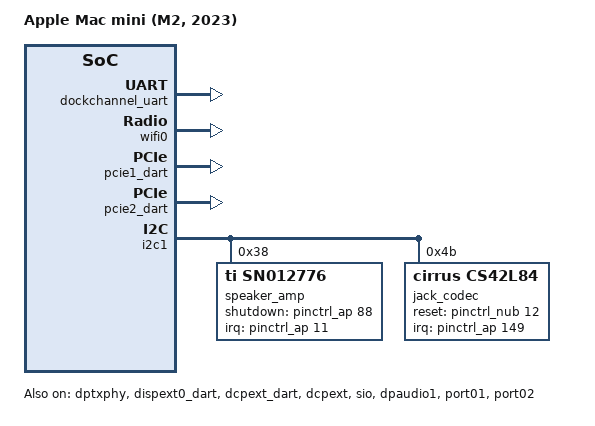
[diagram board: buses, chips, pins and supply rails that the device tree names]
// SPDX-License-Identifier: GPL-2.0+ OR MIT
/*
 * Apple Mac mini (M2, 2023)
 *
 * target-type: J473
 *
 * Copyright The Asahi Linux Contributors
 */

/dts-v1/;

#include <dt-bindings/hwmon/apple,smc-hwmon.h>
#include <dt-bindings/thermal/thermal.h>
#include "t8112.dtsi"
#include "t8112-jxxx.dtsi"

/ {
	compatible = "apple,j473", "apple,t8112", "apple,arm-platform";
	model = "Apple Mac mini (M2, 2023)";
	chassis-type = "desktop";

	aliases {
		bluetooth0 = &bluetooth0;
		/delete-property/ dcp;
		dcpext = &dcpext;
		ethernet0 = &ethernet0;
		sio = &sio;
		wifi0 = &wifi0;
	};

	thermal-zones {
		cpu-thermal {
			/* While throttling, poll as often as the SMC refreshes TCMb */
			polling-delay-passive = <1000>;
			polling-delay = <2000>;
			thermal-sensors = <&smc_hwmon APPLE_SMC_KEY('T', 'C', 'M', 'b')>;

			trips {
				cpu_alert: cpu-alert {
					temperature = <105000>;
					hysteresis = <2000>;
					type = "passive";
				};

				cpu-crit {
					temperature = <110000>;
					hysteresis = <0>;
					type = "critical";
				};
			};

			cooling-maps {
				map0 {
					trip = <&cpu_alert>;
					cooling-device =
						<&cpu_p0 THERMAL_NO_LIMIT THERMAL_NO_LIMIT>,
						<&cpu_p1 THERMAL_NO_LIMIT THERMAL_NO_LIMIT>,
						<&cpu_p2 THERMAL_NO_LIMIT THERMAL_NO_LIMIT>,
						<&cpu_p3 THERMAL_NO_LIMIT THERMAL_NO_LIMIT>;
				};
			};
		};

		gpu-thermal {
			polling-delay-passive = <0>;
			polling-delay = <2000>;
			thermal-sensors = <&smc_hwmon APPLE_SMC_KEY('T', 'g', '0', 'n')>;

			trips {
				gpu-crit {
					temperature = <110000>;
					hysteresis = <0>;
					type = "critical";
				};
			};
		};
	};
};

&dockchannel_uart {
	status = "okay";
};

&dptxphy {
	status = "okay";
};

&dcp {
	status = "disabled";
};

&display {
	iommus = <&dispext0_dart 0 0x0 0x0 0xf 0xffff0000>;
};
&dispext0_dart {
	status = "okay";
};
&dcpext_dart {
	status = "okay";
};
&dcpext_mbox {
	status = "okay";
};
&dcpext {
	status = "okay";
	apple,connector-type = "HDMI-A";

	/*  HDMI HPD gpio, used as interrupt*/
	hdmi-hpd-gpios = <&pinctrl_aop 49 GPIO_ACTIVE_HIGH>;

	hdmi-pwren-gpios = <&smc_gpio 21 GPIO_ACTIVE_HIGH>;
	dp2hdmi-pwren-gpios = <&smc_gpio 22 GPIO_ACTIVE_HIGH>;

	phys = <&dptxphy>;
	phy-names = "dp-phy";
	apple,dptx-phy = <5>;
};

/* remove once m1n1 enables sio nodes after setup */
&sio {
	status = "okay";
};

&dpaudio1 {
	status = "okay";
};

/*
 * Keep the power-domains used for the HDMI port on.
 */
&framebuffer0 {
	power-domains = <&ps_dispext_cpu0>, <&ps_dptx_ext_phy>;
};

/*
 * The M2 Mac mini uses dispext for the HDMI output so it's not necessary to
 * keep disp0 power-domains always-on.
 */
&ps_disp0_sys {
	/delete-property/ apple,always-on;
};

&ps_disp0_fe {
	/delete-property/ apple,always-on;
};

/*
 * Force the bus number assignments so that we can declare some of the
 * on-board devices and properties that are populated by the bootloader
 * (such as MAC addresses).
 */
&port00 {
	bus-range = <1 1>;
	pwren-gpios = <&smc_gpio 13 GPIO_ACTIVE_HIGH>;
	wifi0: wifi@0,0 {
		compatible = "pci14e4,4434";
		reg = <0x10000 0x0 0x0 0x0 0x0>;
		/* To be filled by the loader */
		local-mac-address = [00 10 18 00 00 10];
		apple,antenna-sku = "XX";
		brcm,board-type = "apple,miyake";
	};

	bluetooth0: bluetooth@0,1 {
		compatible = "pci14e4,5f72";
		reg = <0x10100 0x0 0x0 0x0 0x0>;
		/* To be filled by the loader */
		local-bd-address = [00 00 00 00 00 00];
		brcm,board-type = "apple,miyake";
	};
};

&port01 {
	bus-range = <2 2>;
	pwren-gpios = <&smc_gpio 24 GPIO_ACTIVE_HIGH>;
	status = "okay";
};

&port02 {
	bus-range = <3 3>;
	status = "okay";
	ethernet0: ethernet@0,0 {
		reg = <0x30000 0x0 0x0 0x0 0x0>;
		/* To be filled by the loader */
		local-mac-address = [00 10 18 00 00 00];
	};
};

&pcie1_dart {
	status = "okay";
};

&pcie2_dart {
	status = "okay";
};

/*
 * Provide labels for the USB type C ports.
 */

&typec0 {
	label = "USB-C Back-left";
};

&typec1 {
	label = "USB-C Back-right";
};

&i2c1 {
	speaker_amp: codec@38 {
		compatible = "ti,sn012776", "ti,tas2764";
		reg = <0x38>;
		shutdown-gpios = <&pinctrl_ap 88 GPIO_ACTIVE_HIGH>;
		#sound-dai-cells = <0>;
		interrupt-parent = <&pinctrl_ap>;
		interrupts = <11 IRQ_TYPE_LEVEL_LOW>;
		ti,imon-slot-no = <0>;
		ti,vmon-slot-no = <2>;
	};

	jack_codec: codec@4b {
		compatible = "cirrus,cs42l84";
		reg = <0x4b>;
		reset-gpios = <&pinctrl_nub 12 GPIO_ACTIVE_HIGH>;
		interrupt-parent = <&pinctrl_ap>;
		interrupts = <149 IRQ_TYPE_LEVEL_LOW>;
		#sound-dai-cells = <0>;
		cirrus,ts-inv = <1>;
		sound-name-prefix = "Jack";
	};
};

/ {
	sound {
		compatible = "apple,j473-macaudio", "apple,macaudio";
		model = "Mac mini J473";

		dai-link@0 {
			link-name = "Speaker";

			cpu {
				sound-dai = <&mca 0>;
			};
			codec {
				sound-dai = <&speaker_amp>;
			};
		};

		dai-link@1 {
			link-name = "Headphone Jack";

			cpu {
				sound-dai = <&mca 2>;
			};
			codec {
				sound-dai = <&jack_codec>;
			};
		};

	};
};

&gpu {
	apple,perf-base-pstate = <3>;
};

#include "hwmon-mini.dtsi"

/*
 * SoC die sensors. The SMC keys differ between machines with the same SoC,
 * so these are described per board.
 */
&smc_hwmon {
	#thermal-sensor-cells = <1>;

	/* Maximum over the P-core sensors below */
	temperature-TCMb {
		apple,key-id = "TCMb";
		label = "CPU Die Max Temp";
	};

	temperature-Tp01 {
		apple,key-id = "Tp01";
		label = "P-core 0 Die Temp A";
	};

	temperature-Tp05 {
		apple,key-id = "Tp05";
		label = "P-core 0 Die Temp B";
	};

	temperature-Tp09 {
		apple,key-id = "Tp09";
		label = "P-core 1 Die Temp A";
	};

	temperature-Tp0D {
		apple,key-id = "Tp0D";
		label = "P-core 1 Die Temp B";
	};

	temperature-Tp0f {
		apple,key-id = "Tp0f";
		label = "P-core 2 Die Temp A";
	};

	temperature-Tp0j {
		apple,key-id = "Tp0j";
		label = "P-core 2 Die Temp B";
	};

	temperature-Tp0n {
		apple,key-id = "Tp0n";
		label = "P-core 3 Die Temp A";
	};

	temperature-Tp0r {
		apple,key-id = "Tp0r";
		label = "P-core 3 Die Temp B";
	};

	temperature-Tg0f {
		apple,key-id = "Tg0f";
		label = "GPU Die Temp 1";
	};

	temperature-Tg0n {
		apple,key-id = "Tg0n";
		label = "GPU Die Temp 2";
	};

	temperature-Tg0r {
		apple,key-id = "Tg0r";
		label = "GPU Die Temp 3";
	};
};
